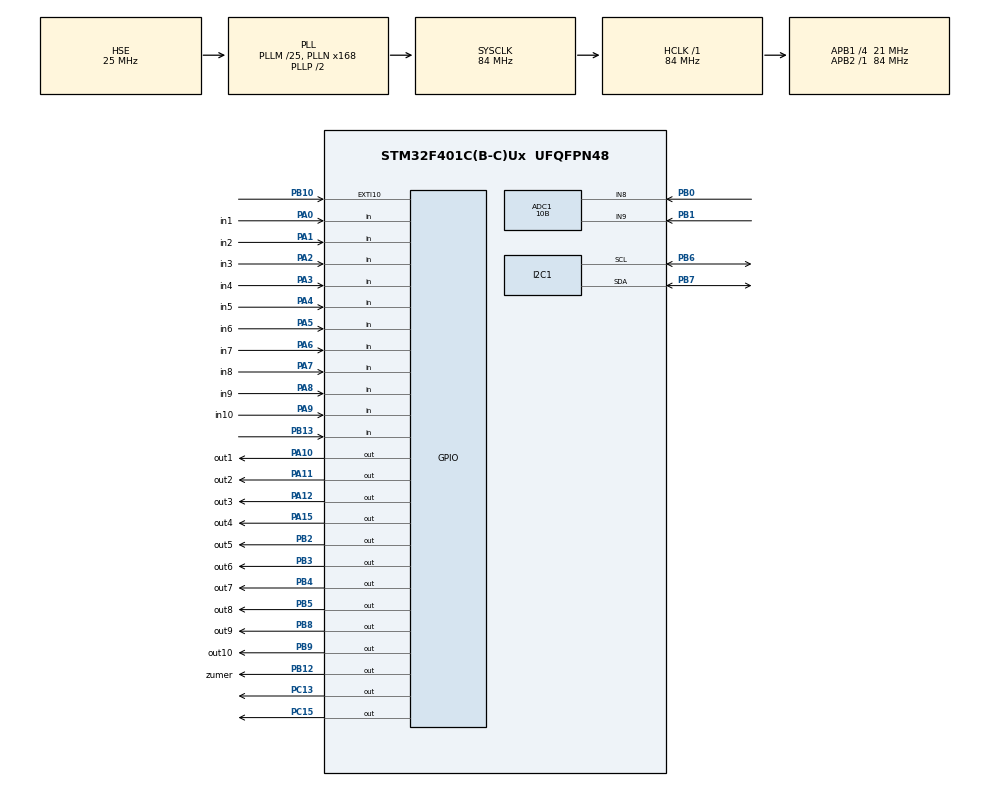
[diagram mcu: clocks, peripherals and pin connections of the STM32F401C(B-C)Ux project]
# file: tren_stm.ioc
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ADC1.Channel-0\#ChannelRegularConversion=ADC_CHANNEL_8
ADC1.NbrOfConversionFlag=1
ADC1.Rank-0\#ChannelRegularConversion=1
ADC1.Resolution=ADC_RESOLUTION_10B
ADC1.SamplingTime-0\#ChannelRegularConversion=ADC_SAMPLETIME_3CYCLES
ADC1.master=1
Mcu.Family=STM32F4
Mcu.Name=STM32F401C(B-C)Ux
Mcu.Package=UFQFPN48
NVIC.EXTI15_10_IRQn=true\:0\:0\:false\:false\:true\:true\:true\:true
NVIC.PriorityGroup=NVIC_PRIORITYGROUP_4
NVIC.TIM1_UP_TIM10_IRQn=true\:0\:0\:false\:false\:true\:true\:true\:true
PA0-WKUP.GPIO_Label=in1
PA0-WKUP.GPIO_PuPd=GPIO_PULLUP
PA0-WKUP.Signal=GPIO_Input
PA1.GPIO_Label=in2
PA1.GPIO_PuPd=GPIO_PULLUP
PA1.Signal=GPIO_Input
PA10.GPIO_Label=out1
PA10.Signal=GPIO_Output
PA11.GPIO_Label=out2
PA11.Signal=GPIO_Output
PA12.GPIO_Label=out3
PA12.Signal=GPIO_Output
PA13.Mode=Serial_Wire
PA13.Signal=SYS_JTMS-SWDIO
PA14.Mode=Serial_Wire
PA14.Signal=SYS_JTCK-SWCLK
PA15.GPIO_Label=out4
PA15.Signal=GPIO_Output
PA2.GPIO_Label=in3
PA2.GPIO_PuPd=GPIO_PULLUP
PA2.Signal=GPIO_Input
PA3.GPIO_Label=in4
PA3.GPIO_PuPd=GPIO_PULLUP
PA3.Signal=GPIO_Input
PA4.GPIO_Label=in5
PA4.GPIO_PuPd=GPIO_PULLUP
PA4.Signal=GPIO_Input
PA5.GPIO_Label=in6
PA5.GPIO_PuPd=GPIO_PULLUP
PA5.Signal=GPIO_Input
PA6.GPIO_Label=in7
PA6.GPIO_PuPd=GPIO_PULLUP
PA6.Signal=GPIO_Input
PA7.GPIO_Label=in8
PA7.GPIO_PuPd=GPIO_PULLUP
PA7.Signal=GPIO_Input
PA8.GPIO_Label=in9
PA8.GPIO_PuPd=GPIO_PULLUP
PA8.Signal=GPIO_Input
PA9.GPIO_Label=in10
PA9.GPIO_PuPd=GPIO_PULLUP
PA9.Signal=GPIO_Input
PB0.Signal=ADCx_IN8
PB1.Signal=ADCx_IN9
PB10.GPIO_ModeDefaultEXTI=GPIO_MODE_IT_FALLING
PB10.GPIO_PuPd=GPIO_PULLUP
PB10.Signal=GPXTI10
PB12.GPIO_Label=zumer
PB12.Signal=GPIO_Output
PB13.GPIO_PuPd=GPIO_PULLUP
PB13.Signal=GPIO_Input
PB2.GPIO_Label=out5
PB2.Signal=GPIO_Output
PB3.GPIO_Label=out6
PB3.Signal=GPIO_Output
PB4.GPIO_Label=out7
PB4.Signal=GPIO_Output
PB5.GPIO_Label=out8
PB5.Signal=GPIO_Output
PB6.GPIO_Pu=GPIO_PULLUP
PB6.Mode=I2C
PB6.Signal=I2C1_SCL
PB7.GPIO_Pu=GPIO_PULLUP
PB7.Mode=I2C
PB7.Signal=I2C1_SDA
PB8.GPIO_Label=out9
PB8.Signal=GPIO_Output
PB9.GPIO_Label=out10
PB9.Signal=GPIO_Output
PC13-ANTI_TAMP.Signal=GPIO_Output
PC15-OSC32_OUT.Signal=GPIO_Output
PH0\ -\ OSC_IN.Mode=HSE-External-Oscillator
PH0\ -\ OSC_IN.Signal=RCC_OSC_IN
PH1\ -\ OSC_OUT.Mode=HSE-External-Oscillator
PH1\ -\ OSC_OUT.Signal=RCC_OSC_OUT
ProjectManager.HeapSize=0x200
ProjectManager.StackSize=0x400
ProjectManager.TargetToolchain=STM32CubeIDE
RCC.48MHZClocksFreq_Value=42000000
RCC.AHBFreq_Value=84000000
RCC.APB1CLKDivider=RCC_HCLK_DIV4
RCC.APB1Freq_Value=21000000
RCC.APB1TimFreq_Value=42000000
RCC.APB2Freq_Value=84000000
RCC.APB2TimFreq_Value=84000000
RCC.CortexFreq_Value=84000000
RCC.HCLKFreq_Value=84000000
RCC.HSE_VALUE=25000000
RCC.HSI_VALUE=16000000
RCC.LSE_VALUE=32768
RCC.PLLM=25
RCC.PLLN=168
RCC.PLLSourceVirtual=RCC_PLLSOURCE_HSE
RCC.SYSCLKFreq_VALUE=84000000
RCC.SYSCLKSource=RCC_SYSCLKSOURCE_PLLCLK
RCC.VCOOutputFreq_Value=168000000
SH.ADCx_IN8.0=ADC1_IN8,IN8
SH.ADCx_IN9.0=ADC1_IN9,IN9
TIM10.AutoReloadPreload=TIM_AUTORELOAD_PRELOAD_DISABLE
TIM10.ClockDivision=TIM_CLOCKDIVISION_DIV1
TIM10.Period=199
TIM10.Prescaler=20999
VP_TIM10_VS_ClockSourceINT.Mode=Enable_Timer
board=custom

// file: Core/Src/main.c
/* USER CODE BEGIN Header */
/**

  */
/* USER CODE END Header */
#include "main.h"

/* USER CODE BEGIN Includes */

#include <stdio.h>
/* USER CODE END Includes */

ADC_HandleTypeDef hadc1;

I2C_HandleTypeDef hi2c1;

TIM_HandleTypeDef htim10;

/* USER CODE BEGIN PV */
char *str;
uint8_t adress_i2c,ledon=1 ,adr[2],flag_beg=0;
uint16_t a,count_timer=0;
const uint8_t temp_numder[6]={2,3,5,10,20,50};
uint8_t game_armed=0;
uint8_t time_random,random_numder[50],start_play=0,counter_number=0,flag_zumer=0,count_zumer=0,count_mem=0,rand_number_duble_one[50],rand_number_duble_two[50];
uint8_t position=0, flag_onoff=0,mem_stop=0,result=0,cicl_mem=0;
uint8_t prob1=0;
uint8_t step=5 ;  // переменная шага программы.
struct adc_k button;
param p_work;
int MyDataOne=823,prob=0;   //  первая переменная для записи
int MyDataTwo=560;          //  вторая  переменная для записи
int *p= &MyDataOne;

/* USER CODE END PV */

void SystemClock_Config(void);
static void MX_GPIO_Init(void);
static void MX_I2C1_Init(void);
static void MX_ADC1_Init(void);
static void MX_TIM10_Init(void);
/* USER CODE BEGIN PFP */
void reset_beg_scored_cycle(void);
void reset_inv_scored_cycle(void);
/* USER CODE END PFP */

int main(void)
{

  /* MCU Configuration--------------------------------------------------------*/

  /* Reset of all peripherals, Initializes the Flash interface and the Systick. */
  HAL_Init();

  /* Configure the system clock */
  SystemClock_Config();

  /* Initialize all configured peripherals */
  MX_GPIO_Init();
  MX_I2C1_Init();
  MX_ADC1_Init();
  MX_TIM10_Init();
  /* USER CODE BEGIN 2 */
  lcd_init();
  HAL_TIM_Base_Start_IT(&htim10);
  __HAL_TIM_ENABLE_IT(&htim10, TIM_IT_UPDATE);
  /* USER CODE END 2 */

  /* Infinite loop */
  /* USER CODE BEGIN WHILE */
  off_all();
  if (read_adcn() < 5)
  {
      HAL_Delay(100);
      if (read_adcn() < 5)
      {
          Setbotton();
      }
  }
  HAL_Delay(500);
  SystemMem();
  indication();
  if (p_work.mode != test)
  {
      on_one();       /* Зажигаем стартовую мишень при включении */
      game_armed = 1; /* Игра взведена и готова к старту */
  }
  else
  {
      off_all();
      game_armed = 0;
  }
  start_play = 0;

while (1)
{
    /* USER CODE END WHILE */

    /* USER CODE BEGIN 3 */
    static uint8_t last_bal = 255;
    if (p_work.bal != last_bal)
    {
        lcd_goto(14, 1);
        lcd_number(p_work.bal);
        if (p_work.bal < 10)
        {
            lcd_string(" ");
        }
        last_bal = p_work.bal;
    }

    /* Кнопка включения/выключения питания (PB10, active-low) */
    if (flag_onoff == 1 || (HAL_GPIO_ReadPin(GPIOB, GPIO_PIN_10) == GPIO_PIN_RESET))
    {
        HAL_Delay(30); /* Антидребезг */
        if (HAL_GPIO_ReadPin(GPIOB, GPIO_PIN_10) == GPIO_PIN_RESET || flag_onoff == 1)
        {
            start_play = 3;
            ledon = 0;
            lcd_clear();
            p_work.bal = 0;
            off_all();

            /* Ждём полного отпускания кнопки выключения */
            while (HAL_GPIO_ReadPin(GPIOB, GPIO_PIN_10) == GPIO_PIN_RESET)
            {
                HAL_Delay(10);
            }
            HAL_Delay(100);

            /* Режим ожидания/выключено: ждём повторного нажатия для включения */
            while (HAL_GPIO_ReadPin(GPIOB, GPIO_PIN_10) == GPIO_PIN_SET)
            {
                HAL_Delay(50);
            }

            HAL_Delay(50); /* Антидребезг нажатия на включение */

            /* Ждём отпускания */
            while (HAL_GPIO_ReadPin(GPIOB, GPIO_PIN_10) == GPIO_PIN_RESET)
            {
                HAL_Delay(10);
            }
            HAL_Delay(100);

            flag_onoff = 0; /* СБРОС ФЛАГА: предотвращает повторный вход в цикл */
            ledon = 1;
            indication();
            if (p_work.mode != test)
            {
                on_one();
                game_armed = 1;
            }
            else
            {
                off_all();
                game_armed = 0;
            }
            start_play = 0;
            step = 0;
            last_bal = 255;
        }
        else
        {
            flag_onoff = 0;
        }
    }

	if (flag_zumer == 1)
	{
		p_work.bal == p_work.number_cycles ? ZumerOk() : ZumerError();
		flag_zumer = 0;
		off_all(); /* Стартовая мишень гаснет при окончании игры */
		start_play = 0;
		game_armed = 0; /* Раунд завершён: не горящая стартовая кнопка не начинает игру */
	}
	if(p_work.mode==game_invers || p_work.mode==game_beg)
	{
		proverka(flag_beg);//���� ������ �������� �� ��������  flag_beg � ���� ���� ����� ������
	}

	if((out(p_work.duble_one_flag,p_work.duble_two_flag))==2 && p_work.mode==game_duble)
	{
		flag_beg=0;
	}

	if(p_work.mode==game_beg3)
	{
		checkReleaseBeg3();
	}

	if(p_work.mode==game_beg4)
	{
		checkReleaseBeg4();
	}

	if(p_work.mode==game_inv_double)
	{
		checkReleaseInvDouble();
	}

	if(p_work.mode==game_inv3)
	{
		checkReleaseInv3();
	}

	if(p_work.mode==game_inv4)
	{
		checkReleaseInv4();
	}

	if(p_work.mode==game_color_pair)
	{
		checkReleaseColorPair();
	}

	if(p_work.mode==test)
	{
		testButton();
	}

	if (start_play == 1 && flag_beg == 0)
	{
		if (p_work.mode == game_beg)
		{
			chekBotton(random_numder[counter_number]);
		}
		else if (p_work.mode == game_invers)
		{
			chekBottonInvert(random_numder[counter_number]);
		}
		else if (p_work.mode == game_beg3)
		{
			pollBeg3Buttons();
		}
		else if (p_work.mode == game_beg4)
		{
			pollBeg4Buttons();
		}
		else if (p_work.mode == game_inv_double)
		{
			pollInvDoubleButtons();
		}
		else if (p_work.mode == game_inv3)
		{
			pollInv3Buttons();
		}
		else if (p_work.mode == game_inv4)
		{
			pollInv4Buttons();
		}
		else if (p_work.mode == game_color_pair)
		{
			pollColorPairButtons();
		}
	}

  if (start_play == 0)
  {
      if (bt_ok()) SetParametrPlay();
  }

  if (game_armed == 1 && start_play == 0 && !(in_one()) && p_work.mode != test && p_work.mode != mem_game && p_work.mode != game_mem_double)
	{
	      game_armed = 0;
	      off_all();
	      if(p_work.mode==game_invers || p_work.mode==game_beg)
	    	  	RandomNumber();
	      else if(p_work.mode==game_duble)
				randomNumberDuble();
	      else if(p_work.mode==game_beg3)
				randomNumberBeg3();
	      else if(p_work.mode==game_beg4)
				randomNumberBeg4();
	      else if(p_work.mode==game_inv_double)
				randomNumberInvDouble();
	      else if(p_work.mode==game_inv3)
				randomNumberInv3();
	      else if(p_work.mode==game_inv4)
				randomNumberInv4();
	      else if(p_work.mode==game_color_pair)
				randomNumberColorPair();

	   	  counter_number=1;
	      p_work.timer_game=0;
	      p_work.bal=0;
	      last_bal = 255;
	      flag_beg=0;
	      reset_beg_scored_cycle();
	      reset_inv_scored_cycle();
	      reset_all_mode_latches();
	      HAL_GPIO_WritePin(GPIOA, GPIO_PIN_10, GPIO_PIN_RESET);
	      while (!(in_one())) { HAL_Delay(5); }
	      HAL_Delay(30);
	      while (!(in_one()));

	      /* Зажигаем мишени первого такта СТРОГО ПРИ ОТПУСКАНИИ для всех режимов */
	      if (p_work.mode == game_beg)
	      {
	          onLedBeg(random_numder[1]);
	      }
	      else if (p_work.mode == game_duble)
	      {
	          onLedDouble(rand_number_duble_one[1], rand_number_duble_two[1]);
	      }
	      else if (p_work.mode == game_beg3)
	      {
	          setLedTarget(rand_beg3_lit[1], 1);
	      }
	      else if (p_work.mode == game_beg4)
	      {
	          setLedTarget(rand_beg4_lit1[1], 1);
	          setLedTarget(rand_beg4_lit2[1], 1);
	      }
	      else if (p_work.mode == game_invers)
	      {
	          if (COUNT_LED == 10) off_all_invert(); else off_all_invert_half();
	      }
	      else if (p_work.mode == game_inv_double)
	      {
	          onLed8On2Off(rand_inv2_one[1], rand_inv2_two[1]);
	      }
	      else if (p_work.mode == game_inv3)
	      {
	          for (uint8_t i = 0; i < 10; i++) setLedTarget(i, (i != rand_inv3_dark[1]) ? 1 : 0);
	      }
	      else if (p_work.mode == game_inv4)
	      {
	          onLed8On2Off(rand_inv4_dark1[1], rand_inv4_dark2[1]);
	      }
	      else if (p_work.mode == game_color_pair)
	      {
	          onLedColorPair(1);
	      }

	      start_play=1;                                         // готовность к запуску
	  }

   if(time_random>50) {time_random=0;} else {time_random++;}       // ��������� Srand

          if(bt_reset())
          {
              uint32_t press_start = HAL_GetTick();
              uint8_t mode_entered = 0;

              while (bt_reset())
              {
                  HAL_Delay(10);
                  if ((HAL_GetTick() - press_start) >= 600)
                  {
                      SetMode();
                      mode_entered = 1;
                      break;
                  }
              }

              if (!mode_entered)
              {
                  /* Короткое нажатие RESET: сброс игры, сброс счёта, взведение стартовой мишени */
                  off_all();
                  p_work.bal = 0;
                  last_bal = 255;
                  reset_beg_scored_cycle();
                  reset_inv_scored_cycle();
                  reset_all_mode_latches();
                  lcd_goto(14, 1);
                  lcd_string("0 ");
                  if (p_work.mode != test)
                  {
                      on_one();
                      game_armed = 1; /* Взведено: стартовая мишень №1 горит, готова к пуску */
                  }
                  start_play = 0;
                  step = 0;
              }

              while (bt_reset()) { HAL_Delay(10); }
              HAL_Delay(50);
          }

    if (game_armed == 1 && (step==0 || step==5) && p_work.mode == mem_game && !in_one())
    {
    	game_armed = 0;
    	RandomNumber();
    	p_work.bal=0;
    	HAL_GPIO_WritePin(GPIOA, GPIO_PIN_10, GPIO_PIN_RESET);
    	while(!(in_one())) { HAL_Delay(5); }
    	HAL_Delay(30);
    	while(!(in_one()));
    	step=1          ;
    	start_play=1    ;
    	counter_number=1;
    	off_all() ;
    	cicl_mem=1;
    	result=60;
    	p_work.timer_game=0;
    }

    if (game_armed == 1 && (step==0 || step==5) && p_work.mode == game_mem_double && !in_one())
    {
    	game_armed = 0;
    	randomNumberMemDouble();
    	p_work.bal=0;
    	HAL_GPIO_WritePin(GPIOA, GPIO_PIN_10, GPIO_PIN_RESET);
    	while(!(in_one())) { HAL_Delay(5); }
    	HAL_Delay(30);
    	while(!(in_one()));
    	step=1          ;
    	start_play=1    ;
    	counter_number=1;
    	off_all() ;
    	cicl_mem=1;
    	result=60;
    	p_work.timer_game=0;
    }
////////////////////  работа в режиме память///////////////////////////
    if  ( p_work.mode ==mem_game && step==2 )
    {
    	 for (int i=0;i<= 9 ; i++)
    		 {
    	         if (chekInputMem( GPIOA,i ) )
    			   {result=i;
    			     break ;
    			   }
    	         else
    	        	 result=60;
    		 }

    	 if ( result !=60 )
    	 {
    		 if ( result == random_numder[cicl_mem ] )
    		 {
    			 onLedBeg(result);
    			 p_work.bal ++;
    			 cicl_mem++;
    			 Zumer();
    			 while( READ_BIT(GPIOA->IDR,0x1UL << result)==RESET )
    			     {}
    			  off_all();

    		 }
    		 else
    		 {
    			 step=5;
                ZumerError();
    		 }
         }

    	 if ( p_work.number_cycles  == p_work.bal )
    	 {
    		 lcd_goto(14,1);
    		 lcd_number( p_work.bal );
    		 step=5;
    		 ZumerOk();
    	 }
   }

    if ( p_work.mode == game_mem_double && step == 2 )
    {
    	checkInputMemDouble();
    }

////////////////////////////////////////////

  if (start_play == 0)
  {
      HAL_Delay(10);
  }

  }
  /* USER CODE END 3 */
}

void SystemClock_Config(void)
{
  RCC_OscInitTypeDef RCC_OscInitStruct = {0};
  RCC_ClkInitTypeDef RCC_ClkInitStruct = {0};

  /** Configure the main internal regulator output voltage
  */
  __HAL_RCC_PWR_CLK_ENABLE();
  __HAL_PWR_VOLTAGESCALING_CONFIG(PWR_REGULATOR_VOLTAGE_SCALE2);

  /** Initializes the RCC Oscillators according to the specified parameters
  * in the RCC_OscInitTypeDef structure.
  */
  RCC_OscInitStruct.OscillatorType = RCC_OSCILLATORTYPE_HSE;
  RCC_OscInitStruct.HSEState = RCC_HSE_ON;
  RCC_OscInitStruct.PLL.PLLState = RCC_PLL_ON;
  RCC_OscInitStruct.PLL.PLLSource = RCC_PLLSOURCE_HSE;
  RCC_OscInitStruct.PLL.PLLM = 25;
  RCC_OscInitStruct.PLL.PLLN = 168;
  RCC_OscInitStruct.PLL.PLLP = RCC_PLLP_DIV2;
  RCC_OscInitStruct.PLL.PLLQ = 4;
  if (HAL_RCC_OscConfig(&RCC_OscInitStruct) != HAL_OK)
  {
    Error_Handler();
  }

  /** Initializes the CPU, AHB and APB buses clocks
  */
  RCC_ClkInitStruct.ClockType = RCC_CLOCKTYPE_HCLK|RCC_CLOCKTYPE_SYSCLK
                              |RCC_CLOCKTYPE_PCLK1|RCC_CLOCKTYPE_PCLK2;
  RCC_ClkInitStruct.SYSCLKSource = RCC_SYSCLKSOURCE_PLLCLK;
  RCC_ClkInitStruct.AHBCLKDivider = RCC_SYSCLK_DIV1;
  RCC_ClkInitStruct.APB1CLKDivider = RCC_HCLK_DIV4;
  RCC_ClkInitStruct.APB2CLKDivider = RCC_HCLK_DIV1;

  if (HAL_RCC_ClockConfig(&RCC_ClkInitStruct, FLASH_LATENCY_2) != HAL_OK)
  {
    Error_Handler();
  }
}

static void MX_ADC1_Init(void)
{

  ADC_ChannelConfTypeDef sConfig = {0};

  /** Configure the global features of the ADC (Clock, Resolution, Data Alignment and number of conversion)
  */
  hadc1.Instance = ADC1;
  hadc1.Init.ClockPrescaler = ADC_CLOCK_SYNC_PCLK_DIV4;
  hadc1.Init.Resolution = ADC_RESOLUTION_10B;
  hadc1.Init.ScanConvMode = DISABLE;
  hadc1.Init.ContinuousConvMode = DISABLE;
  hadc1.Init.DiscontinuousConvMode = DISABLE;
  hadc1.Init.ExternalTrigConvEdge = ADC_EXTERNALTRIGCONVEDGE_NONE;
  hadc1.Init.ExternalTrigConv = ADC_SOFTWARE_START;
  hadc1.Init.DataAlign = ADC_DATAALIGN_RIGHT;
  hadc1.Init.NbrOfConversion = 1;
  hadc1.Init.DMAContinuousRequests = DISABLE;
  hadc1.Init.EOCSelection = ADC_EOC_SINGLE_CONV;
  if (HAL_ADC_Init(&hadc1) != HAL_OK)
  {
    Error_Handler();
  }

  /** Configure for the selected ADC regular channel its corresponding rank in the sequencer and its sample time.
  */
  sConfig.Channel = ADC_CHANNEL_8;
  sConfig.Rank = 1;
  sConfig.SamplingTime = ADC_SAMPLETIME_3CYCLES;
  if (HAL_ADC_ConfigChannel(&hadc1, &sConfig) != HAL_OK)
  {
    Error_Handler();
  }

}

static void MX_I2C1_Init(void)
{

  hi2c1.Instance = I2C1;
  hi2c1.Init.ClockSpeed = 100000;
  hi2c1.Init.DutyCycle = I2C_DUTYCYCLE_2;
  hi2c1.Init.OwnAddress1 = 0;
  hi2c1.Init.AddressingMode = I2C_ADDRESSINGMODE_7BIT;
  hi2c1.Init.DualAddressMode = I2C_DUALADDRESS_DISABLE;
  hi2c1.Init.OwnAddress2 = 0;
  hi2c1.Init.GeneralCallMode = I2C_GENERALCALL_DISABLE;
  hi2c1.Init.NoStretchMode = I2C_NOSTRETCH_DISABLE;
  if (HAL_I2C_Init(&hi2c1) != HAL_OK)
  {
    Error_Handler();
  }

}

static void MX_TIM10_Init(void)
{

  htim10.Instance = TIM10;
  htim10.Init.Prescaler = 20999;
  htim10.Init.CounterMode = TIM_COUNTERMODE_UP;
  htim10.Init.Period = 199;
  htim10.Init.ClockDivision = TIM_CLOCKDIVISION_DIV1;
  htim10.Init.AutoReloadPreload = TIM_AUTORELOAD_PRELOAD_DISABLE;
  if (HAL_TIM_Base_Init(&htim10) != HAL_OK)
  {
    Error_Handler();
  }

}

static void MX_GPIO_Init(void)
{
  GPIO_InitTypeDef GPIO_InitStruct = {0};

  /* GPIO Ports Clock Enable */
  __HAL_RCC_GPIOC_CLK_ENABLE();
  __HAL_RCC_GPIOH_CLK_ENABLE();
  __HAL_RCC_GPIOA_CLK_ENABLE();
  __HAL_RCC_GPIOB_CLK_ENABLE();

  /*Configure GPIO pin Output Level */
  HAL_GPIO_WritePin(GPIOC, GPIO_PIN_13|GPIO_PIN_15, GPIO_PIN_RESET);

  /*Configure GPIO pin Output Level */
  HAL_GPIO_WritePin(GPIOB, out5_Pin|zumer_Pin|out6_Pin|out7_Pin
                          |out8_Pin|out9_Pin|out10_Pin, GPIO_PIN_RESET);

  /*Configure GPIO pin Output Level */
  HAL_GPIO_WritePin(GPIOA, out1_Pin|out2_Pin|out3_Pin|out4_Pin, GPIO_PIN_RESET);

  /*Configure GPIO pins : PC13 PC15 */
  GPIO_InitStruct.Pin = GPIO_PIN_13|GPIO_PIN_15;
  GPIO_InitStruct.Mode = GPIO_MODE_OUTPUT_PP;
  GPIO_InitStruct.Pull = GPIO_NOPULL;
  GPIO_InitStruct.Speed = GPIO_SPEED_FREQ_LOW;
  HAL_GPIO_Init(GPIOC, &GPIO_InitStruct);

  /*Configure GPIO pins : in1_Pin in2_Pin in3_Pin in4_Pin
                           in5_Pin in6_Pin in7_Pin in8_Pin
                           in9_Pin in10_Pin */
  GPIO_InitStruct.Pin = in1_Pin|in2_Pin|in3_Pin|in4_Pin
                          |in5_Pin|in6_Pin|in7_Pin|in8_Pin
                          |in9_Pin|in10_Pin;
  GPIO_InitStruct.Mode = GPIO_MODE_INPUT;
  GPIO_InitStruct.Pull = GPIO_PULLUP;
  HAL_GPIO_Init(GPIOA, &GPIO_InitStruct);

  /*Configure GPIO pins : out5_Pin zumer_Pin out6_Pin out7_Pin
                           out8_Pin out9_Pin out10_Pin */
  GPIO_InitStruct.Pin = out5_Pin|zumer_Pin|out6_Pin|out7_Pin
                          |out8_Pin|out9_Pin|out10_Pin;
  GPIO_InitStruct.Mode = GPIO_MODE_OUTPUT_PP;
  GPIO_InitStruct.Pull = GPIO_NOPULL;
  GPIO_InitStruct.Speed = GPIO_SPEED_FREQ_LOW;
  HAL_GPIO_Init(GPIOB, &GPIO_InitStruct);

  /*Configure GPIO pin : PB10 */
  GPIO_InitStruct.Pin = GPIO_PIN_10;
  GPIO_InitStruct.Mode = GPIO_MODE_IT_FALLING;
  GPIO_InitStruct.Pull = GPIO_PULLUP;
  HAL_GPIO_Init(GPIOB, &GPIO_InitStruct);

  /*Configure GPIO pin : PB13 */
  GPIO_InitStruct.Pin = GPIO_PIN_13;
  GPIO_InitStruct.Mode = GPIO_MODE_INPUT;
  GPIO_InitStruct.Pull = GPIO_PULLUP;
  HAL_GPIO_Init(GPIOB, &GPIO_InitStruct);

  /*Configure GPIO pins : out1_Pin out2_Pin out3_Pin out4_Pin */
  GPIO_InitStruct.Pin = out1_Pin|out2_Pin|out3_Pin|out4_Pin;
  GPIO_InitStruct.Mode = GPIO_MODE_OUTPUT_PP;
  GPIO_InitStruct.Pull = GPIO_NOPULL;
  GPIO_InitStruct.Speed = GPIO_SPEED_FREQ_LOW;
  HAL_GPIO_Init(GPIOA, &GPIO_InitStruct);

  /* EXTI interrupt init*/
  HAL_NVIC_SetPriority(EXTI15_10_IRQn, 0, 0);
  HAL_NVIC_EnableIRQ(EXTI15_10_IRQn);

}

void Error_Handler(void)
{
  __disable_irq();
  while (1)
  {
  }
}
